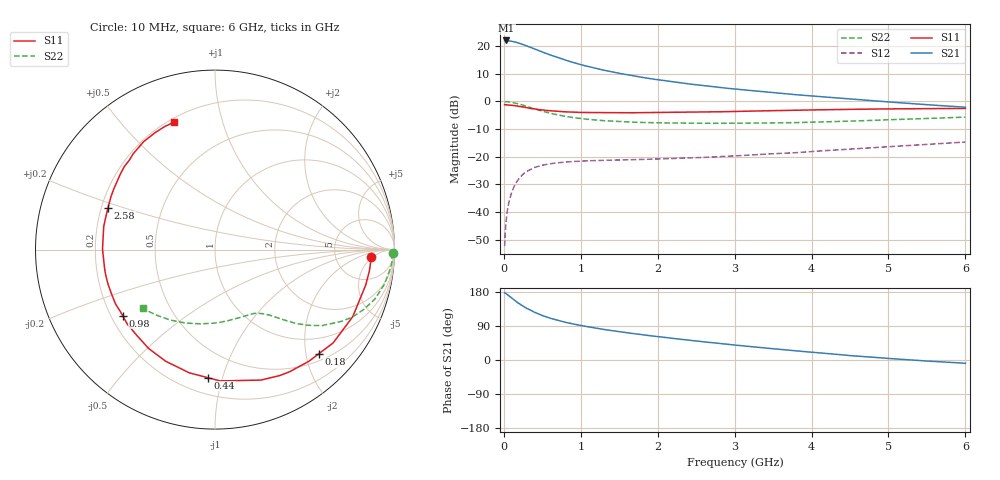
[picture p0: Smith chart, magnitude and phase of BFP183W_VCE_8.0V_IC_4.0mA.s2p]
! Infineon Technologies  Discrete & RF Semiconductors
! BFP183W
! VCE = 8.0 V,  IC =  4.0 mA
! Common Emitter S-Parameters:  Jan 2016
# GHz  S  MA  R  50
!  f  S11  S21  S12  S22
! GHz  MAG  ANG  MAG  ANG  MAG  ANG  MAG  ANG
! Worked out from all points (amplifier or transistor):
!   210 points, 10 MHz to 6 GHz, reference 50 ohm
!   highest |S21| = 22.1 dB at 30 MHz (marker M1)
!   |S21| within 3 dB of that: start of sweep to 392.7 MHz
!   unconditionally stable (mu >= 1): 2.003 GHz to 5.9 GHz
!   at 185 MHz: K = 0.12, MSG = 24.8 dB, |S12| = -28.4 dB
!   at 1.52 GHz: K = 0.81, MSG = 15.6 dB, |S12| = -21.2 dB
!   at 6 GHz: K = 0.99, MSG = 6.3 dB, |S12| = -14.7 dB
!   S11 on the Smith chart (normalised r, x): 10 MHz: 13, -4; 180 MHz: 0.64, -2.25; 440 MHz: 0.31, -0.90; 980 MHz: 0.25, -0.30; 2.58 GHz: 0.23, +0.18; 6 GHz: 0.22, +0.70
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0.01  0.872 -2.7  12.62 177.3  0.0024 92.3  0.9926 -1.2
0.03  0.8684 -7.8  12.66 175.0  0.007 85.6  0.9892 -3.6
0.1  0.8535 -26.0  12.27 163.6  0.022 76.0  0.9633 -11.6
0.15  0.8388 -38.3  11.89 155.7  0.0322 69.5  0.9329 -17.1
0.18  0.8192 -45.2  11.51 151.4  0.0371 65.8  0.9091 -19.9
0.24  0.7976 -58.5  10.82 143.5  0.0467 59.6  0.8615 -25.2
0.3  0.7707 -70.6  10.06 135.9  0.0543 54.0  0.8095 -29.6
0.4  0.7321 -87.8  8.89 125.8  0.0637 46.4  0.7316 -35.4
0.44  0.7147 -93.2  8.442 122.6  0.0662 44.1  0.7047 -36.9
0.5  0.7013 -101.8  7.826 117.2  0.0701 41.0  0.6653 -39.3
0.6  0.6799 -113.9  6.94 110.4  0.0744 36.6  0.612 -42.3
0.7  0.6636 -123.8  6.223 104.6  0.0775 33.7  0.5699 -44.4
0.8  0.6469 -132.3  5.573 99.5  0.0799 31.4  0.5363 -46.3
0.98  0.6322 -144.4  4.699 91.9  0.0826 28.5  0.4932 -48.9
1.02  0.6303 -146.8  4.539 90.4  0.0831 28.0  0.4859 -49.4
1.4  0.6256 -165.4  3.43 77.6  0.0865 25.6  0.4403 -54.1
2.02  0.6277 173.1  2.445 61.3  0.0911 26.9  0.41 -62.5
2.58  0.6398 158.7  1.937 48.4  0.0966 29.8  0.4019 -71.7
3.1  0.6606 147.1  1.625 37.6  0.105 32.3  0.4028 -81.2
4.1  0.7046 129.1  1.225 18.9  0.1265 35.4  0.4231 -102.6
5.1  0.7333 116.2  0.955 2.8  0.1544 35.6  0.4697 -124.7
6  0.7461 107.9  0.784 -8.7  0.1838 33.7  0.5195 -141.0
